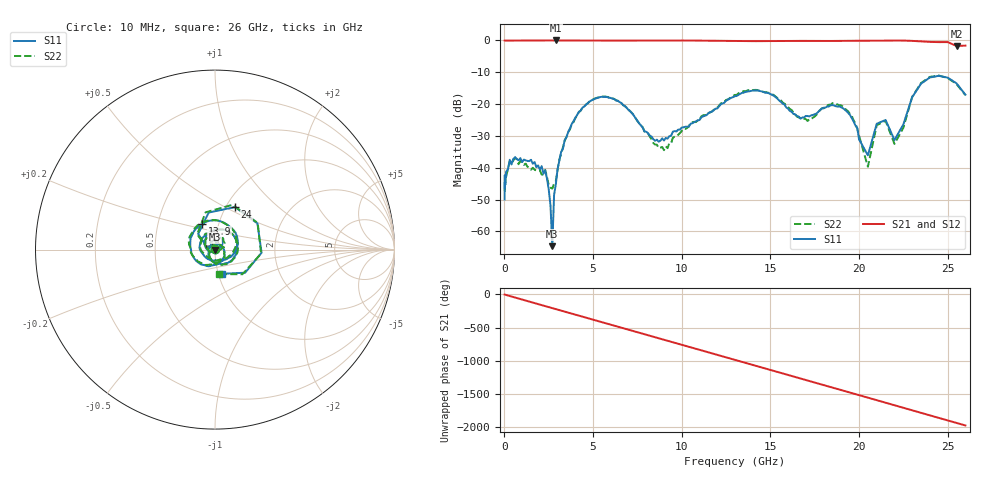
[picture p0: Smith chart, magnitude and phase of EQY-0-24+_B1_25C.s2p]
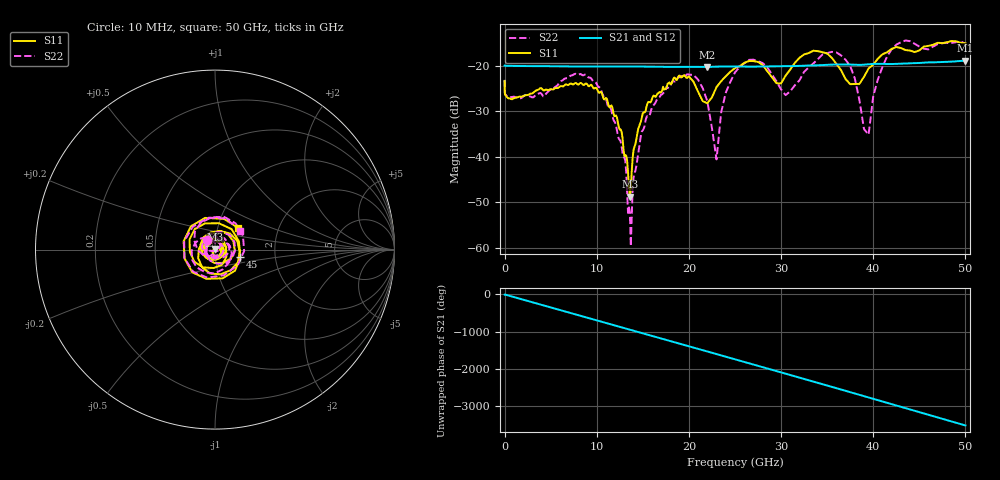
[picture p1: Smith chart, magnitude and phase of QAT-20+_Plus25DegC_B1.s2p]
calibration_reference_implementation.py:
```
#!/usr/bin/env python3

"""
Implementation and tests of the "Cal-Acquisition for 12-Term Models" described in 3.3 (page 139) of _Handbook of Microwave Component Measurements_ (2020) by Joel Dunsmore.

Also based on https://coppermountaintech.com/webinar-vna-master-class-full-1-port-vna-calibration-math-with-python-code/
Also see Keysight Application Note "Specifying Calibration Standards and Kits for Keysight Vector Network Analyzers"

Terms:
    DUT - device under test
"""

import math
import skrf as rf
import numpy as np
import matplotlib.pyplot as plt

def generate_short_standard(offset_delay, offset_loss, l0, l1, l2, l3, frequencies):
    """
    Generate S-parameters for a short standard using the standard polynomial approximation given in equation 3.27 of the book. A short standard is modeled as a short lossy transmission line before a small frequency-dependent inductor.

    Also see https://www.minicircuits.com/pdfs/SOL-63-NM+.pdf for the units.

    offset_delay - Delay of the transmission line in ps.
    offset_loss - Loss of the transmission line in GOhm/s
    l0 - First coefficient for inductance in (1e-12 H)
    l1 - Second coefficient for inductance in (1e-24 H)
    l2 - Third coefficient for inductance in (1e-33 H)
    l3 - Fourth coefficient for inductance in  (1e-42 H)
    """
    #loss = (offset_loss * 1e9) * (offset_delay * 1e-12)

    s11_values = []
    for frequency in frequencies.f:
        omega = 2 * math.pi * frequency
        L = (l0 * 1e-12) + (l1 * 1e-24 * frequency) + (l2 * 1e-33 * (frequency ** 2)) + (l3 * 1e-42 * (frequency ** 3))
        inductor_impedance = 1j * omega * L
        reflection_coefficient = (inductor_impedance - 50) / (inductor_impedance + 50)

        delay_phase_shift = omega * (offset_delay * 1e-12)
        reflection_coefficient *= math.e ** (-1j * delay_phase_shift)

        s11_values.append(reflection_coefficient)

    inductor_network = rf.Network(f = frequencies.f, s = s11_values, z0 = 50)
    return inductor_network

def generate_open_standard(offset_delay, offset_loss, c0, c1, c2, c3, frequencies):
    """
    Generate S-parameters for an open standard using the standard polynomial approximation given in equation 3.27 of the book. A open standard is modeled as a short lossy transmission line before a small frequency-dependent capacitor.

    Also see https://www.minicircuits.com/pdfs/SOL-63-NM+.pdf for the units.

    offset_delay - Delay of the transmission line in ps.
    offset_loss - Loss of the transmission line in GOhm/s
    c0 - First coefficient for inductance in (1e-15 H)
    c1 - Second coefficient for inductance in (1e-27 H)
    c2 - Third coefficient for inductance in (1e-36 H)
    c3 - Fourth coefficient for inductance in  (1e-45 H)
    """
    #loss = (offset_loss * 1e9) * (offset_delay * 1e-12)

    s11_values = []
    for frequency in frequencies.f:
        omega = 2 * math.pi * frequency
        C = (c0 * 1e-15) + (c1 * 1e-27 * frequency) + (c2 * 1e-36 * (frequency ** 2)) + (c3 * 1e-45 * (frequency ** 3))
        capacitor_impedance = 1/(1j * omega * C)
        reflection_coefficient = (capacitor_impedance - 50) / (capacitor_impedance + 50)

        delay_phase_shift = omega * (offset_delay * 1e-12)
        reflection_coefficient *= math.e ** (-1j * delay_phase_shift)

        s11_values.append(reflection_coefficient)

    capacitor_network = rf.Network(f = frequencies.f, s = s11_values, z0 = 50)
    return capacitor_network

def generate_load_standard(offset_delay, offset_loss, offset_impedance, frequencies):
    """
    Generate S-parameters for an open standard using the transmission line + resistor model of a load standard.

    offset_delay - Delay of the transmission line in ps.
    offset_loss - Loss of the transmission line in GOhm/s
    offset_impedance - Impedance of the load standard (normally 50 Ohms).
    """

    s11_values = []
    for frequency in frequencies.f:
        if offset_impedance == 50:
            s11_values.append(0)
        else:
            omega = 2 * math.pi * frequency
            reflection_coefficient = (offset_impedance - 50) / (offset_impedance + 50)

            delay_phase_shift = omega * (offset_delay * 1e-12)
            reflection_coefficient *= math.e ** (-1j * delay_phase_shift)

            s11_values.append(reflection_coefficient)

    load_network = rf.Network(f = frequencies.f, s = s11_values, z0 = 50)
    return load_network

dut = rf.Network("VBF-8450+.S2P") # Example DUT, an 8.4 GHz bandpass filter from Mini-Circuits
port1_test_fixture = rf.Network("EQY-0-24+_B1_25C.s2p") # Example test fixture from port 1 of VNA to DUT, equalizer from Mini-Circuits.
port2_test_fixture = rf.Network("QAT-20+_Plus25DegC_B1.s2p") # Example test fixture (cable and other devices) from port 2 of VNA to DUT, 20 dB attenuator from Mini-Circuits.
frequencies = rf.frequency.Frequency(10e6, 15e9, 5000, "Hz")
dut.interpolate_self(frequencies)
port1_test_fixture.interpolate_self(frequencies)
port2_test_fixture.interpolate_self(frequencies)

# Example cal standard parameters from https://www.minicircuits.com/pdfs/SOL-63-NM+.pdf
short_standard_model = generate_short_standard(59.44, 1, 0, 0, 0, 0, frequencies)
open_standard_model = generate_open_standard(59.55, 1, -4, 200, 0, 1.1, frequencies)
load_standard_model = generate_load_standard(0, 0, 50, frequencies)
media = rf.media.DefinedGammaZ0(frequency = frequencies, z0_port = 50)
unknown_through_standard_model = media.attenuator(1, d = 10, units = "ps") # 1 dB attenuator as our unknown-thru standard.

#===================Measure Cal Standards In-System===============================
short_standard_measured_port1 = port1_test_fixture ** short_standard_model
open_standard_measured_port1 = port1_test_fixture ** open_standard_model
load_standard_measured_port1 = port1_test_fixture ** load_standard_model
short_standard_measured_port2 = port2_test_fixture ** short_standard_model
open_standard_measured_port2 = port2_test_fixture ** open_standard_model
load_standard_measured_port2 = port2_test_fixture ** load_standard_model
unknown_through_standard_measured_port1 = port1_test_fixture ** unknown_through_standard_model ** port2_test_fixture
unknown_through_standard_measured_port2 = unknown_through_standard_measured_port1.flipped()

#===================Take Raw Measurements (Test Fixtures + DUT)===================
full_system_measured = port1_test_fixture ** dut ** port2_test_fixture

#===========================Calibration==========================================
ERF_values = np.zeros(len(frequencies.f), dtype = np.complex128)
EDF_values = np.zeros(len(frequencies.f), dtype = np.complex128)
ESF_values = np.zeros(len(frequencies.f), dtype = np.complex128)
ERR_values = np.zeros(len(frequencies.f), dtype = np.complex128)
EDR_values = np.zeros(len(frequencies.f), dtype = np.complex128)
ESR_values = np.zeros(len(frequencies.f), dtype = np.complex128)
ELF_values = np.zeros(len(frequencies.f), dtype = np.complex128)
ELR_values = np.zeros(len(frequencies.f), dtype = np.complex128)
for i in range(len(frequencies.f)):
    # Port 1 single-port cal (open, short, load)
    A = np.array([[1, open_standard_model.s[i][0, 0], open_standard_model.s[i][0, 0] * open_standard_measured_port1.s[i][0, 0]],
                  [1, short_standard_model.s[i][0, 0], short_standard_model.s[i][0, 0] * short_standard_measured_port1.s[i][0, 0]],
                  [1, load_standard_model.s[i][0, 0], load_standard_model.s[i][0, 0] * load_standard_measured_port1.s[i][0, 0]]], dtype = np.complex128)
    B = np.array([[open_standard_measured_port1.s[i][0, 0]],
                  [short_standard_measured_port1.s[i][0, 0]],
                  [load_standard_measured_port1.s[i][0, 0]]], dtype = np.complex128)
    solution = np.linalg.solve(A, B)
    EDF = solution[0, 0]
    ESF = solution[2, 0]
    ERF = solution[1, 0] + EDF * ESF
    ERF_values[i] = ERF
    EDF_values[i] = EDF
    ESF_values[i] = ESF
    # Port 2 single-port cal (open, short, load)
    A = np.array([[1, open_standard_model.s[i][0, 0], open_standard_model.s[i][0, 0] * open_standard_measured_port2.s[i][0, 0]],
                  [1, short_standard_model.s[i][0, 0], short_standard_model.s[i][0, 0] * short_standard_measured_port2.s[i][0, 0]],
                  [1, load_standard_model.s[i][0, 0], load_standard_model.s[i][0, 0] * load_standard_measured_port2.s[i][0, 0]]], dtype = np.complex128)
    B = np.array([[open_standard_measured_port2.s[i][0, 0]],
                  [short_standard_measured_port2.s[i][0, 0]],
                  [load_standard_measured_port2.s[i][0, 0]]], dtype = np.complex128)
    solution = np.linalg.solve(A, B)
    EDR = solution[0, 0]
    ESR = solution[2, 0]
    ERR = solution[1, 0] + EDR * ESR
    ERR_values[i] = ERR
    EDR_values[i] = EDR
    ESR_values[i] = ESR
    # 2-port calibration (unknown-through standard, see 3.4.3.1)
    E22 = ESR # Equation 3.12 for converting 12-term to 8-term model
    E11 = ESF # Equation 3.12 for converting 12-term to 8-term model
    gamma_F = unknown_through_standard_measured_port2.s[i][0, 0] # Fake "switch terms" using S-parameters (we don't actually have a model of an unideal switch in the system right now). Actual FPGA implementation should be able to get these directly by computing gamma_F = a2/b2 with port 1 active and gamma_R = a1/b1 with port 2 active. (see 3.4.1.1)
    gamma_R = unknown_through_standard_measured_port1.s[i][0, 0]
    ELF = E22 + (ERR * gamma_F) / (1 - EDR * gamma_F) # Equation 3.40
    ELR = E11 + (ERF * gamma_R) / (1 - EDF * gamma_R) # Equation 3.40
    ELF_values[i] = ELF
    ELR_values[i] = ELR

#=======================Apply Calibration to Measurements==================
# See 3.2.1.
calibrated_measurement = rf.Network(f = frequencies.f, z0 = 50, s = np.zeros_like(full_system_measured.s))
S11N = (full_system_measured.s[:, 0, 0] - EDF_values) / ERF_values
S21N = full_system_measured.s[:, 1, 0] / ETF_values # Assume EXF crosstalk is zero.
S12N = full_system_measured.s[:, 0, 1] / ETR_values # Assume EXR crosstalk is zero.
S22N = (full_system_measured.s[:, 1, 1] - EDR_values) / ERR_values
calibrated_measurement.s[:, 0, 0] = (S11N * (1 + S22N * ESR_values) - ELF_values * S21N * S12N) / ((1 + S11N * ESF_values) * (1 + S22N * ESR_values) - ELF_values * ELR_values * S21N * S12N)

#if __name__ == "__main__":
    #short_standard.plot_s_smith(m=0,n=0,draw_labels=True,color="red")
    #open_standard.plot_s_smith(m=0,n=0,draw_labels=True,color="red")
    #plt.show()
```
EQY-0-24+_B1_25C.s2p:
!Keysight	Technologies	N5244A	MY52442000	A.10.40.14
!Date:	Thursday	February	14	2019	19:00:01
!Correction:	S11(Full	2	Port(1	2))
!S21(Full	2	Port(1	2))
!S12(Full	2	Port(1	2))
!S22(Full	2	Port(1	2))
!S2P	File:	Measurements:	S11	S21	S12	S22:
#	Hz	S	dB	R	50
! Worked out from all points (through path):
!   221 points, 10 MHz to 26 GHz, reference 50 ohm
!   highest |S21| = -0.01 dB at 2.9 GHz (marker M1); lowest = -1.7 dB at 25.5 GHz (marker M2)
!   lowest |S11| = -64.7 dB at 2.7 GHz (marker M3), VSWR 1.00, Z = 50.1 + j0.0253 ohm
!   |S11| at or under -10 dB: start of sweep to end of sweep
!   |S22| runs from -47.7 to -11.0 dB; largest |S21 - S12| = 0.0023
!   S11 on the Smith chart (normalised r, x): 10 MHz: 1.00, +0.01; 13.9 GHz: 0.84, +0.25; 24 GHz: 1.10, +0.56; 26 GHz: 1.04, -0.29
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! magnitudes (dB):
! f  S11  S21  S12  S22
! 10 MHz  -50.0  0.0  0.0  -44.6
! 2.1 GHz  -39.5  0.0  0.0  -42.1
! 2.7 GHz  -64.7  0.0  0.0  -46.6
! 2.9 GHz  -45.1  0.0  0.0  -44.2
! 5.1 GHz  -18.3  -0.1  -0.1  -18.2
! 13.1 GHz  -17.5  -0.2  -0.2  -17.1
! 13.9 GHz  -15.9  -0.2  -0.2  -15.6
! 20.5 GHz  -36.1  -0.1  -0.1  -39.7
! 24 GHz  -11.6  -0.5  -0.5  -11.4
! 25.5 GHz  -13.5  -1.7  -1.7  -13.7
! 26 GHz  -17.1  -1.6  -1.6  -17.2
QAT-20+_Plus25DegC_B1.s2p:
!Keysight Technologies,N5245B,MY58422263,A.13.60.06
!Date: Tuesday, May 19, 2020 14:53:19
!Correction: S11(Full 2 Port(1,2))
!Board Loss Deducted
!S21(Full 2 Port(1,2))
!S12(Full 2 Port(1,2))
!S22(Full 2 Port(1,2))
!S2P File: Measurements: S11, S21, S12, S22:
# Hz S  dB  R 50
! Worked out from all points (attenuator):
!   269 points, 10 MHz to 50 GHz, reference 50 ohm
!   highest |S21| = -18.85 dB at 50 GHz (marker M1); lowest = -20.3 dB at 22 GHz (marker M2)
!   lowest |S11| = -48.8 dB at 13.6 GHz (marker M3), VSWR 1.01, Z = 49.9 + j0.355 ohm
!   |S11| at or under -10 dB: start of sweep to end of sweep
!   |S22| runs from -59.6 to -14.5 dB; largest |S21 - S12| = 0.00075
!   S11 on the Smith chart (normalised r, x): 10 MHz: 0.91, +0.09; 45 GHz: 1.32, -0.11; 50 GHz: 1.24, +0.32
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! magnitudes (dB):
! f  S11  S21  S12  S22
! 10 MHz  -23.4  -20.0  -20.0  -23.1
! 9.9 GHz  -24.8  -20.2  -20.2  -23.7
! 13.6 GHz  -48.8  -20.2  -20.2  -52.1
! 16.6 GHz  -26.1  -20.2  -20.2  -27.3
! 22 GHz  -28.2  -20.3  -20.3  -27.8
! 23 GHz  -24.7  -20.2  -20.2  -40.6
! 25.5 GHz  -20.1  -20.2  -20.2  -20.3
! 36 GHz  -19.6  -19.7  -19.7  -17.1
! 39.5 GHz  -20.6  -19.7  -19.7  -35.1
! 45 GHz  -16.6  -19.4  -19.4  -15.8
! 50 GHz  -15.1  -18.9  -18.9  -15.1
